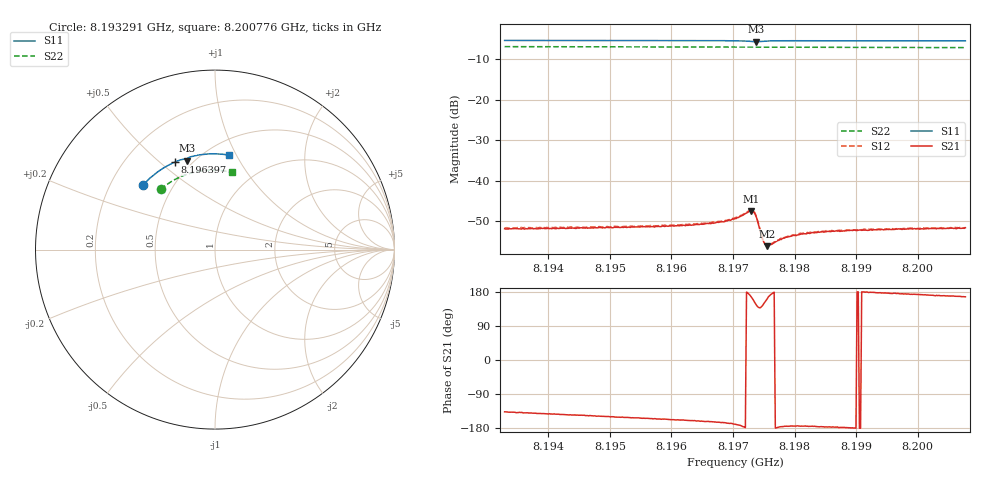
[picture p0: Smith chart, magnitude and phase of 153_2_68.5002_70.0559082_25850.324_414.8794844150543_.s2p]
#  HZ  S  RI  R  50.00
! Rohde & Schwarz Vector Network Analyzer
! Rohde-Schwarz,ZNB20-2Port,1311601062101988,3.16
! Created: UTC 3/20/2024, 5:10:37 PM
! freq[Hz]  re:S11  im:S11  re:S21  im:S21  re:S12  im:S12  re:S22  im:S22
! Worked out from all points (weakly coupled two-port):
!   401 points, 8.193291 GHz to 8.200776 GHz, reference 50 ohm
!   highest |S21| = -47.51 dB at 8.197295 GHz (marker M1); lowest = -56.2 dB at 8.197557 GHz (marker M2)
!   lowest |S11| = -5.7 dB at 8.19737 GHz (marker M3), VSWR 3.16, Z = 23.1 + j31.4 ohm
!   |S11| at or under -10 dB: nowhere
!   |S22| runs from -7.1 to -6.9 dB; largest |S21 - S12| = 0.00023
!   S11 on the Smith chart (normalised r, x): 8.193291 GHz: 0.34, +0.35; 8.196397 GHz: 0.41, +0.56; 8.200776 GHz: 0.64, +0.93
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8.1932912e9  -0.3995 0.362  -0.00185 -0.00174  -0.00195 -0.00172  -0.3026 0.3362
8.1945448e9  -0.3344 0.4218  -0.00216 -0.00147  -0.00227 -0.0014  -0.2459 0.3773
8.1957984e9  -0.2601 0.4701  -0.00248 -0.00111  -0.00256 -0.00104  -0.1833 0.4093
8.1963972e9  -0.2215 0.4886  -0.00271 -0.000943  -0.00278 -0.000869  -0.1516 0.4211
8.1968275e9  -0.192 0.4999  -0.003 -0.000818  -0.00309 -0.000674  -0.1285 0.4279
8.1970334e9  -0.1763 0.5044  -0.00333 -0.000629  -0.00343 -0.000494  -0.1171 0.4308
8.1972579e9  -0.1566 0.5034  -0.00412 0.000411  -0.00419 0.000604  -0.1048 0.4335
8.1972953e9  -0.154 0.5011  -0.0041 0.000948  -0.00412 0.00114  -0.1026 0.4338
8.1973327e9  -0.1532 0.4981  -0.00379 0.00154  -0.00383 0.00176  -0.1008 0.4341
8.1973701e9  -0.1549 0.4962  -0.00312 0.00198  -0.0031 0.00217  -0.0987 0.4344
8.1974076e9  -0.1572 0.4971  -0.0023 0.00194  -0.00226 0.0021  -0.0968 0.4348
8.1974824e9  -0.1572 0.5036  -0.00152 0.0011  -0.00147 0.00118  -0.0928 0.4357
8.1975198e9  -0.1552 0.5066  -0.00146 0.00074  -0.00146 0.000774  -0.0906 0.4362
8.1975573e9  -0.1524 0.5091  -0.00147 0.000491  -0.00151 0.00055  -0.0885 0.4366
8.1976134e9  -0.1482 0.5119  -0.00161 0.000208  -0.00159 0.000244  -0.0854 0.4372
8.1977257e9  -0.1394 0.5157  -0.00182 -6.15e-05  -0.00183 -1.32e-05  -0.0792 0.4382
8.1978566e9  -0.1295 0.5187  -0.00199 -0.000178  -0.002 -0.000109  -0.0717 0.4392
8.1980625e9  -0.1144 0.5226  -0.00212 -0.000222  -0.0022 -0.000121  -0.0603 0.4407
8.198287e9  -0.0983 0.5257  -0.00227 -0.000214  -0.00232 -8.37e-05  -0.0474 0.4419
8.1989419e9  -0.0516 0.5318  -0.00241 -4.65e-05  -0.00245 0.000116  -0.0102 0.443
8.1995406e9  -0.00907 0.5336  -0.00249 0.000179  -0.00252 0.000282  0.0236 0.4415
8.2007755e9  0.0779 0.5264  -0.00254 0.000601  -0.00253 0.000692  0.093 0.4298
